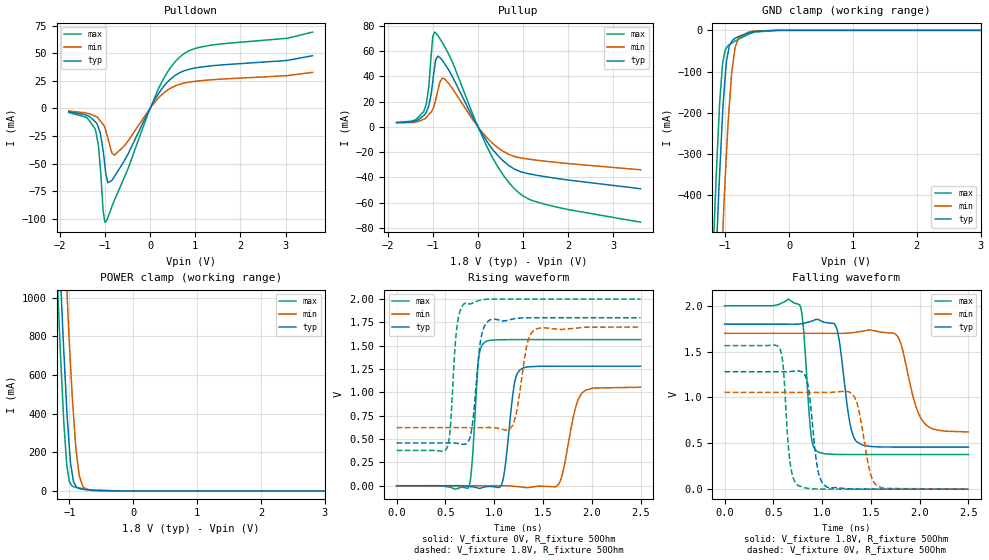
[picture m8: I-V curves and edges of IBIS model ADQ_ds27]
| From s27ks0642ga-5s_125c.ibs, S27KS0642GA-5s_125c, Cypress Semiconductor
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[Model]   ADQ_ds27
Model_type   I/O
Polarity   Non-Inverting
Enable   Active-High
Vinl = 0.54
Vinh = 1.26
Vmeas = 0.9
Vref = 0.9
Cref = 15pF
|   typ   min   max
C_comp   1.03pF   1.01pF   1.05pF
[Voltage Range]   1.8   1.7   2
[Temperature Range]   25   125   -40
[Pullup Reference]   1.8   1.7   2
[Pulldown Reference]   0   0   0
[Power Clamp Reference]   1.8   1.7   2
[GND Clamp Reference]   0   0   0
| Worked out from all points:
|   slope of the pulldown table from 0 to 0.27 V, typ, clamps not added: 14.7 ohm
|   slope of the pullup table from 0 to 0.27 V, typ, clamps not added: 17.7 ohm
|   falling waveform, V_fixture 1.8V, R_fixture 50Ohm: 20-80 % time 96.3ps typ, 151ps min, 61.6ps max; typ from 1.8 V to 0.458 V
|   rising waveform, V_fixture 0V, R_fixture 50Ohm: 20-80 % time 78.8ps typ, 118ps min, 53.5ps max; typ from 0 V to 1.28 V
|   rising waveform, V_fixture 1.8V, R_fixture 50Ohm: 20-80 % time 72ps typ, 93.1ps min, 59.2ps max; typ from 0.458 V to 1.8 V
|   falling waveform, V_fixture 0V, R_fixture 50Ohm: 20-80 % time 78.4ps typ, 106ps min, 61.4ps max; typ from 1.28 V to 0 V
[Pulldown]
|   Voltage   I(typ)   I(min)   I(max)
-1.8V     -2.948mA   -2.293mA   -3.666mA
-1.388V   -6.449mA   -4.39mA    -8.67mA
-1.22V    -11.79mA   -6.887mA   -18.25mA
-1.14V    -17.65mA   -9.339mA   -34.28mA
-1.04V    -37.62mA   -14.48mA   -92.16mA
-1V       -51.67mA   -17.43mA   -103.2mA
-934.2mV  -67.41mA   -26.82mA   -99.03mA
-786.6mV  -61.72mA   -42.33mA   -83.19mA
188mV     13.38mA    9.577mA    18.18mA
644mV     32.16mA    21.8mA     46.12mA
1.118V    37.49mA    25.17mA    55.67mA
3.6V      47.88mA    32.77mA    69.29mA
[GND Clamp]
|   Voltage   I(typ)   I(min)   I(max)
-1.8V     -3.484A    -3.81A     -3.305A
-1.169V   -657.8mA   -998.9mA   -466.8mA
-1.139V   -542.6mA   -884.5mA   -351.1mA
-1.098V   -385.9mA   -726.2mA   -215.9mA
-1.032V   -179.1mA   -472.3mA   -73.7mA
-981mV    -76.7mA    -304.7mA   -43.01mA
-953.4mV  -53.21mA   -223.4mA   -37.1mA
-897.3mV  -27.18mA   -102mA     -30.87mA
-842.9mV  -19.22mA   -40.57mA   -25.9mA
-786.6mV  -14.83mA   -17.29mA   -21.11mA
-542mV    -2.714mA   -1.553mA   -4.283mA
3.6V      0A         0A         0A
[Pullup]
|   Voltage   I(typ)   I(min)   I(max)
-1.8V     3.385mA    3.272mA    3.467mA
-1.202V   8.811mA    5.971mA    11.97mA
-1.14V    12.14mA    7.616mA    18.79mA
-1.086V   17.39mA    9.755mA    32.35mA
-1V       36.05mA    13.85mA    71.51mA
-960mV    46.96mA    17.95mA    75.11mA
-885.6mV  56.1mA     28.99mA    72.28mA
-734.1mV  49.89mA    37.95mA    63.44mA
188mV     -10.91mA   -8.2mA     -14.94mA
811.2mV   -33.5mA    -23.5mA    -49.13mA
1.522V    -39.69mA   -27.36mA   -61.7mA
3.6V      -49.04mA   -34.04mA   -75.58mA
[POWER Clamp]
|   Voltage   I(typ)   I(min)   I(max)
-1.8V     6.849A     7.494A     6.488A
-1.186V   1.48A      2.185A     1.081A
-1.169V   1.345A     2.044A     949mA
-1.139V   1.115A     1.816A     717.5mA
-1.086V   723.7mA    1.409A     355.8mA
-1.035V   390.7mA    1.021A     124.8mA
-982mV    148.4mA    659.6mA    38.85mA
-960mV    100.3mA    525.2mA    26.52mA
-898mV    25.51mA    223.4mA    18.47mA
-842.9mV  11.89mA    76.4mA     14.81mA
-734.1mV  6.19mA     8.47mA     9.024mA
3.6V      0A         0A         0A
[Ramp]
R_load = 50
|   typ   min   max
dV/dt_r 7.6855E-01/7.8329E-11   6.3320E-01/1.1813E-10   9.3920E-01/5.3452E-11
dV/dt_f 8.0496E-01/9.6094E-11   6.4541E-01/1.5001E-10   9.7326E-01/6.1506E-11
[Falling Waveform]
V_fixture = 1.8V
V_fixture_min = 1.7V
V_fixture_max = 2V
R_fixture = 50Ohm
C_fixture = 0F
|   Time   V(typ)   V(min)   V(max)
0s        1.8V       1.7V       2V
770ps     1.802V     1.7V       2.011V
885ps     1.829V     1.7V       605.6mV
950ps     1.853V     1.7V       411.1mV
1.15ns    1.753V     1.699V     379.1mV
1.285ns   720.1mV    1.703V     378.1mV
1.355ns   516.1mV    1.713V     378mV
1.74ns    458.9mV    1.701V     377.9mV
2.035ns   458.4mV    737.1mV    377.9mV
2.5ns     458.4mV    624.3mV    377.9mV
[Rising Waveform]
V_fixture = 0V
V_fixture_min = 0V
V_fixture_max = 0V
R_fixture = 50Ohm
C_fixture = 0F
|   Time   V(typ)   V(min)   V(max)
0s        0V         0V         0V
740ps     -6.089mV   0V         -13.8mV
840ps     -26.51mV   1.163uV    1.352V
910ps     -11.5mV    -26.87uV   1.543V
1.08ns    22.92mV    564.4uV    1.565V
1.2ns     1.048V     -5.565mV   1.565V
1.265ns   1.242V     -11.8mV    1.565V
1.66ns    1.281V     15.16mV    1.565V
1.9ns     1.281V     993.3mV    1.565V
2.5ns     1.281V     1.055V     1.565V
[Rising Waveform]
V_fixture = 1.8V
V_fixture_min = 1.7V
V_fixture_max = 2V
R_fixture = 50Ohm
C_fixture = 0F
|   Time   V(typ)   V(min)   V(max)
0s        458.4mV    623.1mV    377.9mV
510ps     458.4mV    623.1mV    392.9mV
550ps     458.7mV    623.1mV    621.6mV
615ps     455.9mV    623.1mV    1.677V
695ps     443.4mV    623.1mV    1.952V
865ps     1.583V     623.1mV    1.99V
950ps     1.773V     623.8mV    1.999V
1.19ns    1.786V     648.9mV    2V
1.415ns   1.8V       1.67V      2V
2.5ns     1.8V       1.7V       2V
[Falling Waveform]
|Gnd
V_fixture = 0V
V_fixture_min = 0V
V_fixture_max = 0V
R_fixture = 50Ohm
C_fixture = 0F
|   Time   V(typ)   V(min)   V(max)
0s        1.281V     1.055V     1.565V
565ps     1.281V     1.055V     1.537V
670ps     1.282V     1.055V     301.4mV
750ps     1.29V      1.055V     41.75mV
845ps     1.182V     1.055V     10.61mV
955ps     216.5mV    1.055V     1.55mV
1.05ns    23.02mV    1.055V     275.4uV
1.33ns    1.965mV    1.01V      5.024uV
1.56ns    79.9uV     40.57mV    0V
2.5ns     0V         12.41uV    0V
